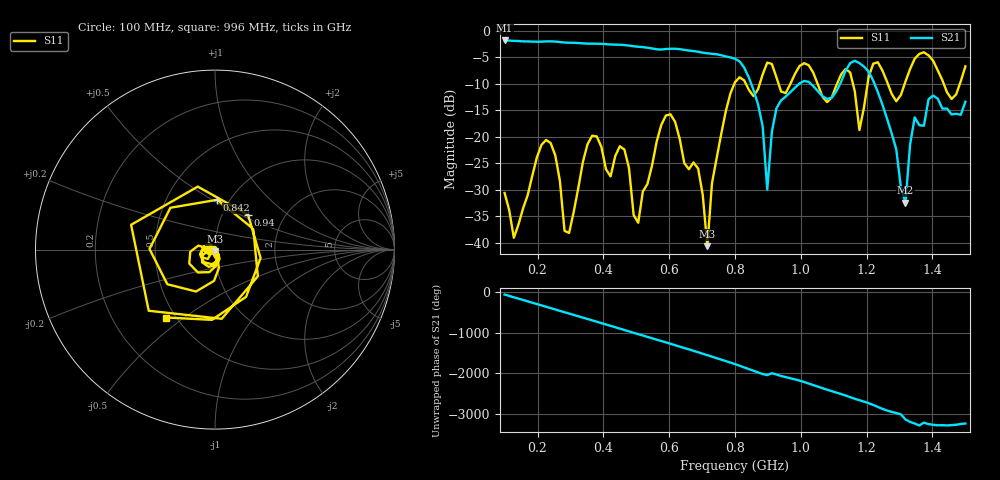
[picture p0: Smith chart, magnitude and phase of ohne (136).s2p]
! NanoVNA-App
! Date: 2025-09-25 14:21:51
! Start: 100MHz Stop: 1,5GHz Points: 101
! S-Parameter data: F S11 S21 S12 S22
# Hz S RI R 50
!  Frequency  S11_Real  S11_Imag  S21_Real  S21_Imag  S12_Real  S12_Imag  S22_Real  S22_Imag
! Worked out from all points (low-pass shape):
!   101 points, 100 MHz to 1.5 GHz, reference 50 ohm
!   highest |S21| = -1.79 dB at 100 MHz (marker M1); lowest = -32.4 dB at 1.318 GHz (marker M2)
!   |S21| within 3 dB of the highest: start of sweep to 770.8 MHz
!   lowest |S11| = -40.7 dB at 716 MHz (marker M3), VSWR 1.02, Z = 49.8 - j0.91 ohm
!   |S11| at or under -10 dB: start of sweep to 797.9 MHz; 833.1 MHz to 875.1 MHz (42 MHz wide, 4.92 % of centre); 1.051 GHz to 1.11 GHz (58.96 MHz wide, 5.46 % of centre) (the widest 3 of 7)
!   S12 and S22 are empty: the file has one direction only
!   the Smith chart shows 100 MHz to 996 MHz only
!   S11 on the Smith chart (normalised r, x): 100 MHz: 0.94, -0.01; 842 MHz: 0.88, +0.53; 940 MHz: 1.32, +0.55; 996 MHz: 0.44, -0.43
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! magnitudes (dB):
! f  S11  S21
! 100 MHz  -30.6  -1.8
! 128 MHz  -39.1  -1.9
! 226 MHz  -20.6  -2.0
! 296 MHz  -38.2  -2.2
! 338 MHz  -24.7  -2.3
! 464 MHz  -22.4  -2.7
! 506 MHz  -36.2  -3.0
! 576 MHz  -17.8  -3.5
! 688 MHz  -26.0  -3.9
! 716 MHz  -40.7  -4.2
! 800 MHz  -9.7  -5.2
! 842 MHz  -11.1  -8.8
! 898 MHz  -6.0  -30.0
! 940 MHz  -11.4  -13.1
! 996 MHz  -6.6  -9.9
! 1.038 GHz  -7.9  -10.4
! 1.178 GHz  -18.7  -6.1
! 1.22 GHz  -6.2  -9.4
! 1.276 GHz  -11.9  -19.4
! 1.318 GHz  -9.5  -32.4
! 1.346 GHz  -5.2  -16.3
! 1.5 GHz  -6.7  -13.4
